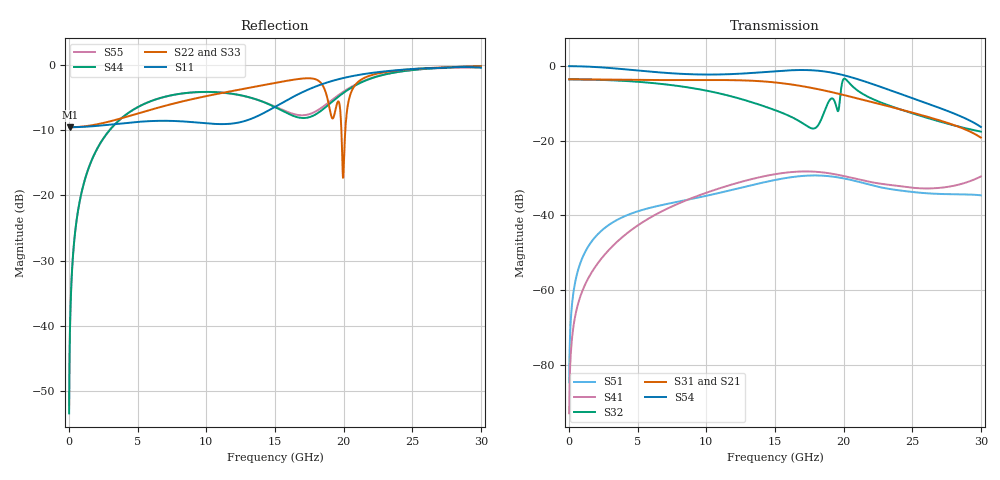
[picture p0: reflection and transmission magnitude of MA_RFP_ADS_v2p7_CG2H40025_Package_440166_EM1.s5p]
! Touchstone file from project CG2H40025_Package
! Exported from HFSS 3D Layout Design 2017.0.0
# GHZ S MA R 50.000000
! Terminal data exported
! Port[1] = Port1
! Port[2] = Port2
! Port[3] = Port3
! Port[4] = Port4
! Port[5] = Port5
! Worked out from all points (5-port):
!   1500 points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, 20 MHz to 30 GHz, reference per port
!   strongest paths, dB at 20 MHz, 7.52 GHz, 15.02 GHz, 22.52 GHz, 30 GHz:
!     S54: 0.0, -1.9, -1.4, -5.3, -16.3
!     S31: -3.5, -3.7, -4.4, -10.0, -19.1
!     S21: -3.5, -3.7, -4.4, -10.1, -19.1
!     S32: -3.5, -5.1, -11.8, -9.4, -17.5
!     S41: -93.0, -37.6, -28.9, -31.4, -29.5
!     S51: -84.7, -36.6, -30.5, -32.3, -34.6
!   lowest |S11| = -9.5 dB at 100 MHz (marker M1), VSWR 2.00
!   |S11| at or under -10 dB: nowhere
